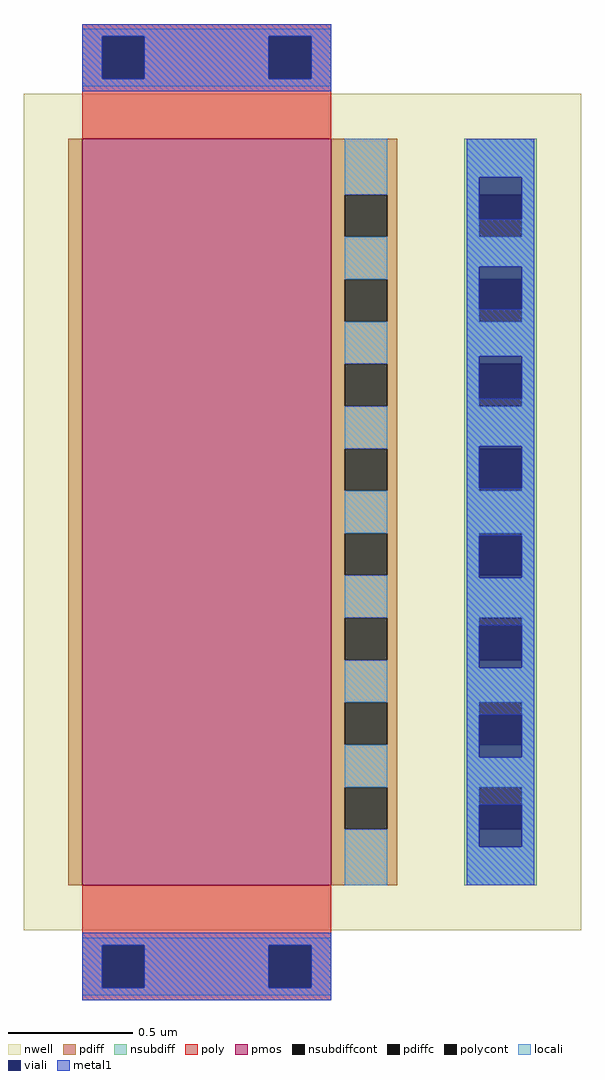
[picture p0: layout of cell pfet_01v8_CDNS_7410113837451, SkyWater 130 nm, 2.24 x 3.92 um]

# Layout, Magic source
magic
tech sky130A
magscale 1 2
<< nwell >>
rect -47 -36 401 636
<< pmos >>
rect 0 0 200 600
<< pdiff >>
rect -11 0 0 600
rect 200 555 253 600
rect 200 521 211 555
rect 245 521 253 555
rect 200 487 253 521
rect 200 453 211 487
rect 245 453 253 487
rect 200 419 253 453
rect 200 385 211 419
rect 245 385 253 419
rect 200 351 253 385
rect 200 317 211 351
rect 245 317 253 351
rect 200 283 253 317
rect 200 249 211 283
rect 245 249 253 283
rect 200 215 253 249
rect 200 181 211 215
rect 245 181 253 215
rect 200 147 253 181
rect 200 113 211 147
rect 245 113 253 147
rect 200 79 253 113
rect 200 45 211 79
rect 245 45 253 79
rect 200 0 253 45
<< pdiffc >>
rect 211 521 245 555
rect 211 453 245 487
rect 211 385 245 419
rect 211 317 245 351
rect 211 249 245 283
rect 211 181 245 215
rect 211 113 245 147
rect 211 45 245 79
<< nsubdiff >>
rect 307 555 365 600
rect 307 521 319 555
rect 353 521 365 555
rect 307 487 365 521
rect 307 453 319 487
rect 353 453 365 487
rect 307 419 365 453
rect 307 385 319 419
rect 353 385 365 419
rect 307 351 365 385
rect 307 317 319 351
rect 353 317 365 351
rect 307 283 365 317
rect 307 249 319 283
rect 353 249 365 283
rect 307 215 365 249
rect 307 181 319 215
rect 353 181 365 215
rect 307 147 365 181
rect 307 113 319 147
rect 353 113 365 147
rect 307 79 365 113
rect 307 45 319 79
rect 353 45 365 79
rect 307 0 365 45
<< nsubdiffcont >>
rect 319 521 353 555
rect 319 453 353 487
rect 319 385 353 419
rect 319 317 353 351
rect 319 249 353 283
rect 319 181 353 215
rect 319 113 353 147
rect 319 45 353 79
<< poly >>
rect 0 682 200 692
rect 0 648 16 682
rect 50 648 150 682
rect 184 648 200 682
rect 0 600 200 648
rect 0 -48 200 0
rect 0 -82 16 -48
rect 50 -82 150 -48
rect 184 -82 200 -48
rect 0 -92 200 -82
<< polycont >>
rect 16 648 50 682
rect 150 648 184 682
rect 16 -82 50 -48
rect 150 -82 184 -48
<< locali >>
rect 0 682 200 688
rect 0 648 16 682
rect 50 648 150 682
rect 184 648 200 682
rect 0 642 200 648
rect 211 555 245 600
rect 211 487 245 521
rect 211 419 245 453
rect 211 351 245 385
rect 211 283 245 317
rect 211 215 245 249
rect 211 147 245 181
rect 211 79 245 113
rect 211 0 245 45
rect 309 569 363 600
rect 309 521 319 569
rect 353 521 363 569
rect 309 497 363 521
rect 309 453 319 497
rect 353 453 363 497
rect 309 425 363 453
rect 309 385 319 425
rect 353 385 363 425
rect 309 353 363 385
rect 309 317 319 353
rect 353 317 363 353
rect 309 283 363 317
rect 309 247 319 283
rect 353 247 363 283
rect 309 215 363 247
rect 309 175 319 215
rect 353 175 363 215
rect 309 147 363 175
rect 309 103 319 147
rect 353 103 363 147
rect 309 79 363 103
rect 309 31 319 79
rect 353 31 363 79
rect 309 0 363 31
rect 0 -48 200 -42
rect 0 -82 16 -48
rect 50 -82 150 -48
rect 184 -82 200 -48
rect 0 -88 200 -82
<< viali >>
rect 16 648 50 682
rect 150 648 184 682
rect 319 555 353 569
rect 319 535 353 555
rect 319 487 353 497
rect 319 463 353 487
rect 319 419 353 425
rect 319 391 353 419
rect 319 351 353 353
rect 319 319 353 351
rect 319 249 353 281
rect 319 247 353 249
rect 319 181 353 209
rect 319 175 353 181
rect 319 113 353 137
rect 319 103 353 113
rect 319 45 353 65
rect 319 31 353 45
rect 16 -82 50 -48
rect 150 -82 184 -48
<< metal1 >>
rect 0 682 200 692
rect 0 648 16 682
rect 50 648 150 682
rect 184 648 200 682
rect 0 638 200 648
rect 309 569 363 600
rect 309 535 319 569
rect 353 535 363 569
rect 309 497 363 535
rect 309 463 319 497
rect 353 463 363 497
rect 309 425 363 463
rect 309 391 319 425
rect 353 391 363 425
rect 309 353 363 391
rect 309 319 319 353
rect 353 319 363 353
rect 309 281 363 319
rect 309 247 319 281
rect 353 247 363 281
rect 309 209 363 247
rect 309 175 319 209
rect 353 175 363 209
rect 309 137 363 175
rect 309 103 319 137
rect 353 103 363 137
rect 309 65 363 103
rect 309 31 319 65
rect 353 31 363 65
rect 309 0 363 31
rect 0 -48 200 -38
rect 0 -82 16 -48
rect 50 -82 150 -48
rect 184 -82 200 -48
rect 0 -92 200 -82
<< end >>
